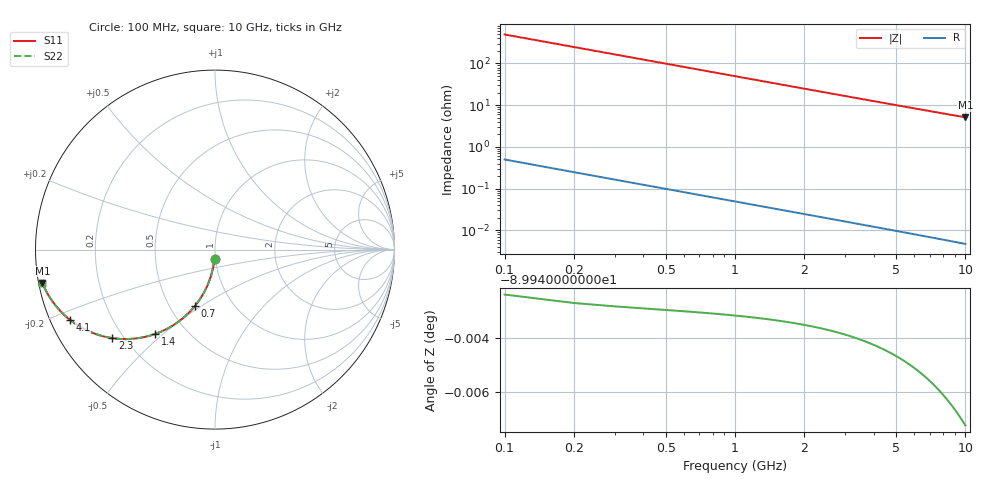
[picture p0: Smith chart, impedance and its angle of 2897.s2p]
# Hz S RI R 50.00
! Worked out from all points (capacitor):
!   100 points, 100 MHz to 10 GHz, reference 50 ohm
!   read as one part in shunt: C = 3.21 pF near 100 MHz
!   lowest |Z| = 5.12 ohm at 10 GHz (marker M1)
!   S11 on the Smith chart (normalised r, x): 100 MHz: 0.99, -0.10; 700 MHz: 0.67, -0.47; 1.4 GHz: 0.34, -0.47; 2.3 GHz: 0.16, -0.36; 4.1 GHz: 0.06, -0.23; 10 GHz: 0.01, -0.10
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1e8  -0.00257 -0.0502  0.9974 -0.0503  0.9974 -0.0503  -0.00257 -0.0502
2e8  -0.0101 -0.0996  0.9898 -0.0998  0.9898 -0.0998  -0.0101 -0.0996
3e8  -0.0225 -0.1476  0.9775 -0.1479  0.9775 -0.1479  -0.0225 -0.1476
4e8  -0.0392 -0.1934  0.9608 -0.1938  0.9608 -0.1938  -0.0392 -0.1934
5e8  -0.0598 -0.2365  0.9401 -0.237  0.9401 -0.237  -0.0598 -0.2365
6e8  -0.0839 -0.2764  0.9161 -0.2771  0.9161 -0.2771  -0.0839 -0.2764
7e8  -0.1108 -0.313  0.8892 -0.3137  0.8892 -0.3137  -0.1108 -0.313
8e8  -0.1399 -0.3459  0.8601 -0.3468  0.8601 -0.3468  -0.1399 -0.3459
1e9  -0.2024 -0.4008  0.7975 -0.4019  0.7975 -0.4019  -0.2024 -0.4008
1.2e9  -0.2675 -0.4415  0.7325 -0.4428  0.7325 -0.4428  -0.2675 -0.4415
1.4e9  -0.3318 -0.4696  0.6681 -0.4711  0.6681 -0.4711  -0.3318 -0.4696
1.6e9  -0.3933 -0.4871  0.6067 -0.4888  0.6067 -0.4888  -0.3933 -0.4871
1.8e9  -0.4505 -0.4961  0.5495 -0.498  0.5495 -0.498  -0.4505 -0.4961
2.3e9  -0.5719 -0.4931  0.4281 -0.4955  0.4281 -0.4955  -0.5719 -0.4931
2.8e9  -0.664 -0.4703  0.3359 -0.4733  0.3359 -0.4733  -0.664 -0.4703
3.4e9  -0.7441 -0.434  0.2558 -0.4376  0.2558 -0.4376  -0.7441 -0.434
4.1e9  -0.8085 -0.3908  0.1915 -0.3952  0.1915 -0.3952  -0.8085 -0.3908
5.1e9  -0.8669 -0.3364  0.133 -0.3419  0.133 -0.3419  -0.8669 -0.3364
5.8e9  -0.8938 -0.3044  0.1062 -0.3107  0.1062 -0.3107  -0.8938 -0.3044
6.7e9  -0.9181 -0.2699  0.0818 -0.2772  0.0818 -0.2772  -0.9181 -0.2699
8.4e9  -0.9463 -0.2203  0.0536 -0.2295  0.0536 -0.2295  -0.9463 -0.2203
1e10  -0.9615 -0.1862  0.0384 -0.1973  0.0384 -0.1973  -0.9615 -0.1862
